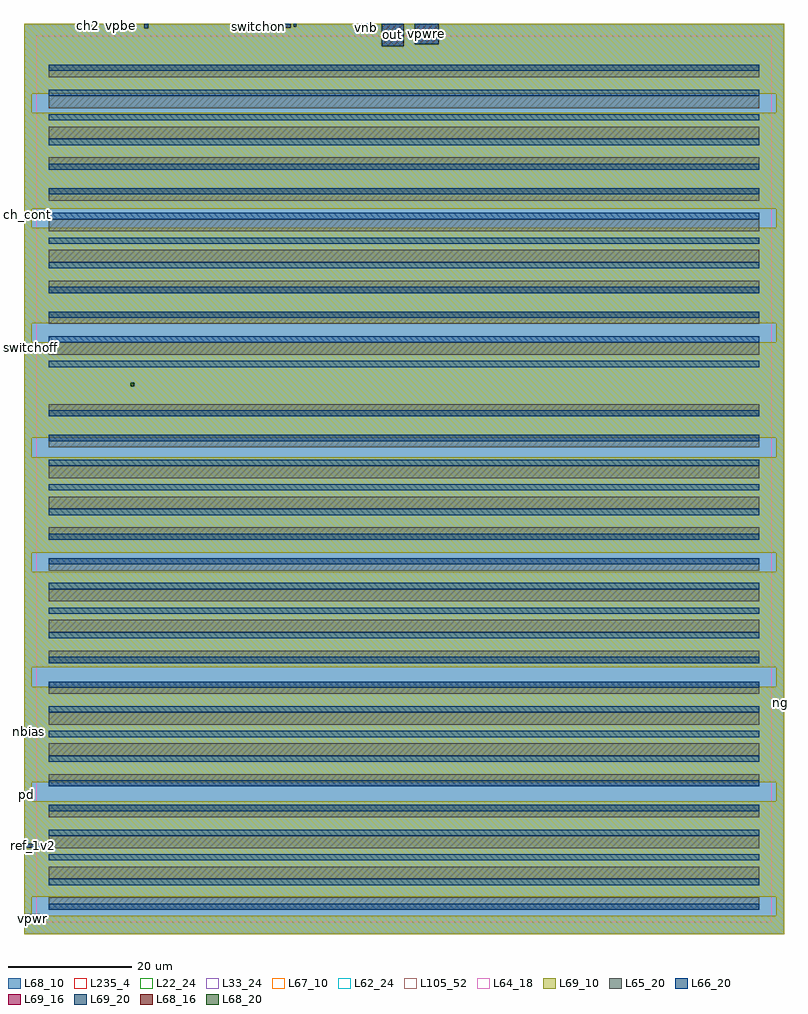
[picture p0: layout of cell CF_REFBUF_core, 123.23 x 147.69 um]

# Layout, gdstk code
import gdstk
lib = gdstk.Library(unit=1e-6, precision=1e-09)
def R(c, l, rs):  # rectangles x0, y0, x1, y1
    for r in rs: c.add(gdstk.rectangle(r[:2], r[2:], *l))
def A(c, l, x, y, w, h, nx, ny, dx, dy):  # array of equal rectangles
    R(c, l, [(x+i*dx, y+j*dy, x+i*dx+w, y+j*dy+h) for i in range(nx) for j in range(ny)])
L22_24 = (22, 24)
L33_24 = (33, 24)
L62_24 = (62, 24)
L64_18 = (64, 18)
L65_20 = (65, 20)
L66_20 = (66, 20)
L67_10 = (67, 10)
L68_10 = (68, 10)
L68_16 = (68, 16)
L68_20 = (68, 20)
L69_10 = (69, 10)
L69_16 = (69, 16)
L69_20 = (69, 20)
L105_52 = (105, 52)
L235_4 = (235, 4)

cf_refbuf_core = lib.new_cell('CF_REFBUF_core')
R(cf_refbuf_core, L22_24, [(0,0,123.225,147.695)])
R(cf_refbuf_core, L33_24, [(0,0,123.225,147.695)])
R(cf_refbuf_core, L62_24, [(0,0,123.225,147.695)])
R(cf_refbuf_core, L64_18, [(2,2,121.225,145.695)])
A(cf_refbuf_core, L65_20, 4, 4, 115.225, 2, 1, 17, 0, 5)
A(cf_refbuf_core, L65_20, 4, 94, 115.225, 2, 1, 10, 0, 5)
A(cf_refbuf_core, L66_20, 4, 4, 115.225, 1, 1, 21, 0, 4)
A(cf_refbuf_core, L66_20, 4, 92, 115.225, 1, 1, 13, 0, 4)
R(cf_refbuf_core, L67_10, [(0,0,123.225,147.695)])
R(cf_refbuf_core, L68_10, [(0,0,0.655,1.94), (0,0,0.655,1.94), (0.655,0,1.1,1.94), (0.655,0,1.1,1.94), (1.1,0,1.59,1.94), (1.1,0,1.59,1.94), (1.59,0,2.655,1.94), (1.59,0,2.655,1.94), (2.655,0,14.355,147.695), (2.655,0,14.355,147.695), (14.355,0,14.755,146.54), (14.355,0,14.755,146.54), (14.755,0,15.28,147.695), (14.755,0,15.28,147.695), (15.28,0,16.005,147.11), (15.28,0,16.005,147.11), (16.005,0,17.335,147.695), (16.005,0,17.335,147.695), (17.335,0,17.85,88.87), (17.335,0,17.85,88.87), (17.85,0,123.225,147.695), (0,3.31,0.655,22.595), (0,3.31,0.655,22.595), (0.655,3.31,1.1,32.44), (0.655,3.31,1.1,32.44), (1.1,3.31,1.59,32.44), (1.1,3.31,1.59,32.44), (1.59,3.31,2.655,147.695), (1.59,3.31,2.655,147.695), (0,22.915,0.655,32.44), (0,22.915,0.655,32.44), (0,33.51,0.655,116.395), (0,33.51,0.655,116.395), (0.655,33.51,1.1,116.395), (0.655,33.51,1.1,116.395), (1.1,33.51,1.59,147.695), (1.1,33.51,1.59,147.695), (17.335,89.42,17.85,147.695), (17.335,89.42,17.85,147.695), (0,117.075,0.655,147.695), (0,117.075,0.655,147.695), (0.655,117.075,1.1,147.695), (0.655,117.075,1.1,147.695)])
R(cf_refbuf_core, L68_16, [(0,1.94,2.655,3.31), (0,22.595,0.655,22.915), (0,32.44,1.59,33.51), (17.335,88.87,17.85,89.42), (0,116.395,1.1,117.075), (14.355,146.54,14.755,147.695), (15.28,147.11,16.005,147.695)])
R(cf_refbuf_core, L68_20, [(0,1.94,2.655,3.31), (0,22.595,0.655,22.915), (0,32.44,1.59,33.51), (17.335,88.87,17.85,89.42), (0,116.395,1.1,117.075), (14.355,146.54,14.755,147.695), (15.28,147.11,16.005,147.695)])
A(cf_refbuf_core, L69_10, 2.935, 6.1, 7.075, 15.5, 1, 7, 0, 18.6)
A(cf_refbuf_core, L69_10, 10.01, 6.1, 0.96, 15.5, 1, 7, 0, 18.6)
A(cf_refbuf_core, L69_10, 10.97, 6.1, 8.545, 15.5, 1, 7, 0, 18.6)
A(cf_refbuf_core, L69_10, 19.515, 6.1, 0.64, 15.5, 1, 7, 0, 18.6)
A(cf_refbuf_core, L69_10, 20.155, 6.1, 17.745, 15.5, 1, 7, 0, 18.6)
A(cf_refbuf_core, L69_10, 37.9, 6.1, 0.35, 15.5, 1, 7, 0, 18.6)
A(cf_refbuf_core, L69_10, 38.25, 6.1, 3.685, 15.5, 1, 7, 0, 18.6)
A(cf_refbuf_core, L69_10, 41.935, 6.1, 1.33, 15.5, 1, 7, 0, 18.6)
A(cf_refbuf_core, L69_10, 43.265, 6.1, 0.51, 15.5, 1, 7, 0, 18.6)
A(cf_refbuf_core, L69_10, 43.775, 6.1, 0.35, 15.5, 1, 7, 0, 18.6)
A(cf_refbuf_core, L69_10, 44.125, 6.1, 11.17, 15.5, 1, 7, 0, 18.6)
A(cf_refbuf_core, L69_10, 55.295, 6.1, 0.505, 15.5, 1, 7, 0, 18.6)
A(cf_refbuf_core, L69_10, 55.8, 6.1, 2.215, 15.5, 1, 7, 0, 18.6)
A(cf_refbuf_core, L69_10, 58.015, 6.1, 3.53, 15.5, 1, 7, 0, 18.6)
A(cf_refbuf_core, L69_10, 61.545, 6.1, 1.785, 15.5, 1, 7, 0, 18.6)
A(cf_refbuf_core, L69_10, 63.33, 6.1, 3.885, 15.5, 1, 7, 0, 18.6)
A(cf_refbuf_core, L69_10, 67.215, 6.1, 54.78, 15.5, 1, 7, 0, 18.6)
A(cf_refbuf_core, L69_10, 1.23, 24.7, 0.72, 15.5, 1, 3, 0, 18.6)
A(cf_refbuf_core, L69_10, 1.95, 24.7, 0.985, 15.5, 1, 6, 0, 18.6)
R(cf_refbuf_core, L69_10, [(0,0,1.23,14.02), (1.23,0,1.95,3), (1.95,0,2.935,3), (2.935,0,10.01,3), (10.01,0,10.97,3), (10.97,0,19.515,3), (19.515,0,20.155,3), (20.155,0,37.9,3), (37.9,0,38.25,3), (38.25,0,41.935,3), (41.935,0,43.265,3), (43.265,0,43.775,3), (43.775,0,44.125,3), (44.125,0,55.295,3), (55.295,0,55.8,3), (55.8,0,58.015,3), (58.015,0,61.545,3), (61.545,0,63.33,3), (63.33,0,67.215,3), (67.215,0,121.995,3), (121.995,0,122.05,147.695), (122.05,0,123.225,37.09), (1.23,6.1,1.95,14.02), (1.95,6.1,2.935,14.02), (0,14.685,1.23,94.925), (1.23,14.685,1.95,21.6), (1.95,14.685,2.935,21.6), (122.05,38.055,123.225,147.695), (1.23,80.5,1.95,94.925), (0,95.47,1.23,147.695), (1.23,95.47,1.95,96), (1.23,99.1,1.95,114.6), (1.23,117.7,1.95,133.2), (1.23,136.3,1.95,147.695), (1.95,136.3,2.935,147.695), (2.935,136.3,10.01,147.695), (10.01,136.3,10.97,147.095), (10.97,136.3,19.515,147.695), (19.515,136.3,20.155,146.95), (20.155,136.3,37.9,147.695), (37.9,136.3,38.25,147.075), (38.25,136.3,41.935,147.695), (41.935,136.3,43.265,147.035), (43.265,136.3,43.775,147.695), (43.775,136.3,44.125,147.18), (44.125,136.3,55.295,147.695), (55.295,136.3,55.8,146.48), (55.8,136.3,58.015,147.695), (58.015,136.3,61.545,144.05), (61.545,136.3,63.33,147.695), (63.33,136.3,67.215,144.355), (67.215,136.3,121.995,147.695)])
R(cf_refbuf_core, L69_16, [(0,14.02,2.935,14.685), (122.05,37.09,123.225,38.055), (0,94.925,1.95,95.47), (58.015,144.05,61.545,147.695), (63.33,144.355,67.215,147.695), (55.295,146.48,55.8,147.695), (19.515,146.95,20.155,147.695), (41.935,147.035,43.265,147.695), (37.9,147.075,38.25,147.695), (10.01,147.095,10.97,147.695), (43.775,147.18,44.125,147.695)])
R(cf_refbuf_core, L69_20, [(0,14.02,2.935,14.685), (122.05,37.09,123.225,38.055), (0,94.925,1.95,95.47), (58.015,144.05,61.545,147.695), (63.33,144.355,67.215,147.695), (55.295,146.48,55.8,147.695), (19.515,146.95,20.155,147.695), (41.935,147.035,43.265,147.695), (37.9,147.075,38.25,147.695), (10.01,147.095,10.97,147.695), (43.775,147.18,44.125,147.695)])
R(cf_refbuf_core, L105_52, [(0,0,123.225,147.695)])
R(cf_refbuf_core, L235_4, [(0,0,123.225,147.695)])
cf_refbuf_core.add(gdstk.Label('nbias', (0.795,32.975), layer=68, texttype=5))
cf_refbuf_core.add(gdstk.Label('vpbe', (15.643,147.403), layer=68, texttype=5))
cf_refbuf_core.add(gdstk.Label('pd', (0.328,22.755), layer=68, texttype=5))
cf_refbuf_core.add(gdstk.Label('ch_cont', (0.55,116.735), layer=68, texttype=5))
cf_refbuf_core.add(gdstk.Label('vpwr', (1.328,2.625), layer=68, texttype=5))
cf_refbuf_core.add(gdstk.Label('ch1', (14.555,147.118), layer=68, texttype=5))
cf_refbuf_core.add(gdstk.Label('switchon', (38.075,147.275), layer=69, texttype=5))
cf_refbuf_core.add(gdstk.Label('out', (59.78,145.873), layer=69, texttype=5))
cf_refbuf_core.add(gdstk.Label('switchoff', (0.975,95.198), layer=69, texttype=5))
cf_refbuf_core.add(gdstk.Label('ref_1v2', (1.468,14.353), layer=69, texttype=5))
cf_refbuf_core.add(gdstk.Label('vnb', (55.548,147.088), layer=69, texttype=5))
cf_refbuf_core.add(gdstk.Label('vpb', (19.835,147.323), layer=69, texttype=5))
cf_refbuf_core.add(gdstk.Label('vgnd', (42.6,147.365), layer=69, texttype=5))
cf_refbuf_core.add(gdstk.Label('ng', (122.638,37.573), layer=69, texttype=5))
cf_refbuf_core.add(gdstk.Label('boost', (43.95,147.438), layer=69, texttype=5))
cf_refbuf_core.add(gdstk.Label('vpwre', (65.273,146.025), layer=69, texttype=5))
cf_refbuf_core.add(gdstk.Label('ch2', (10.49,147.395), layer=69, texttype=5))

lib.write_gds('CF_REFBUF_core.gds')
